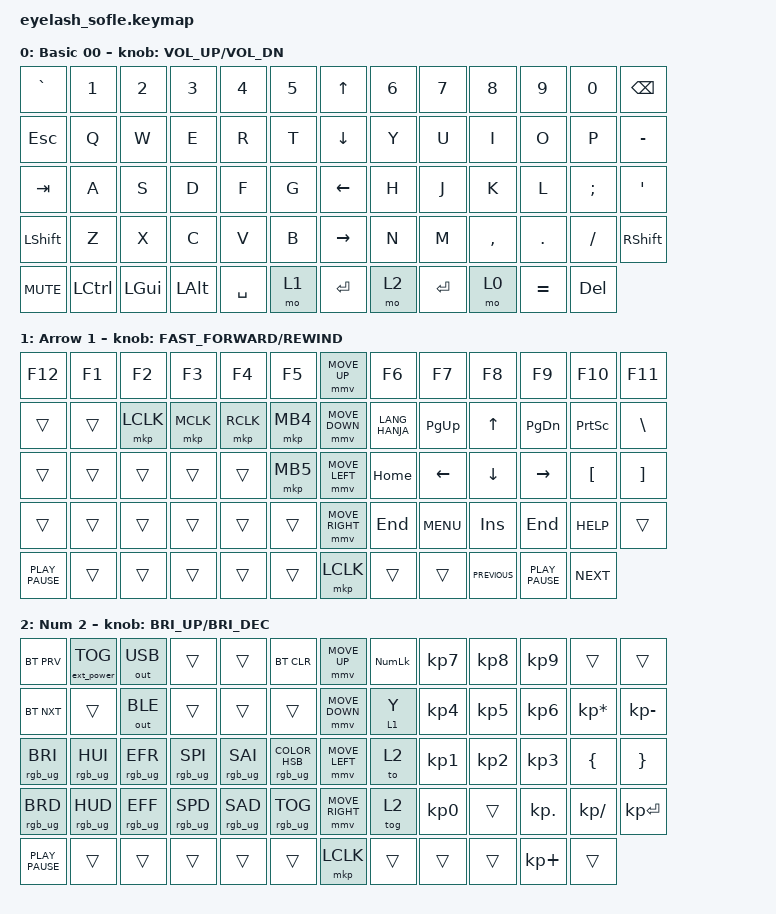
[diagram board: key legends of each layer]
#define ZMK_POINTING_DEFAULT_MOVE_VAL 1200  // 600
#define ZMK_POINTING_DEFAULT_SCRL_VAL 35    // 10

#include <input/processors.dtsi>
#include <zephyr/dt-bindings/input/input-event-codes.h>
#include <behaviors.dtsi>
#include <dt-bindings/zmk/bt.h>
#include <dt-bindings/zmk/ext_power.h>
#include <dt-bindings/zmk/keys.h>
#include <dt-bindings/zmk/outputs.h>
#include <dt-bindings/zmk/pointing.h>
#include <dt-bindings/zmk/rgb.h>

/ {
    zip_scroll_scaler: zip_scroll_scaler {
        compatible = "zmk,input-processor-scaler";
        #input-processor-cells = <2>;
        type = <INPUT_EV_REL>;
        codes = <INPUT_REL_WHEEL INPUT_REL_HWHEEL>;
        track-remainders;
    };
};

&mmv_input_listener { input-processors = <&zip_xy_scaler 2 1>; };

&msc_input_listener { input-processors = <&zip_scroll_scaler 2 1>; };

&msc {
    acceleration-exponent = <0>;      // 0
    time-to-max-speed-ms = <0>;       // 300
    delay-ms = <0>;                   // 0
};

&mmv {
    time-to-max-speed-ms = <400>;
    acceleration-exponent = <1>;
};

/ {
    scroll_encoder: scroll_encoder {
        compatible = "zmk,behavior-sensor-rotate";
        #sensor-binding-cells = <0>;
        bindings = <&msc SCRL_DOWN>, <&msc SCRL_UP>;

        tap-ms = <30>;
    };

    behaviors {
    };

    keymap {
        compatible = "zmk,keymap";

        layer_0 {
            bindings = <
&kp GRAVE   &kp N1     &kp N2        &kp N3        &kp N4     &kp N5    &kp UP_ARROW     &kp N6  &kp N7     &kp N8     &kp N9     &kp N0      &kp BACKSPACE
&kp ESCAPE  &kp Q      &kp W         &kp E         &kp R      &kp T     &kp DOWN_ARROW   &kp Y   &kp U      &kp I      &kp O      &kp P       &kp MINUS
&kp TAB     &kp A      &kp S         &kp D         &kp F      &kp G     &kp LEFT_ARROW   &kp H   &kp J      &kp K      &kp L      &kp SEMI    &kp APOS
&kp LSHFT   &kp Z      &kp X         &kp C         &kp V      &kp B     &kp RIGHT_ARROW  &kp N   &kp M      &kp COMMA  &kp DOT    &kp FSLH    &kp RIGHT_SHIFT
&kp C_MUTE  &kp LCTRL  &kp LEFT_GUI  &kp LEFT_ALT  &kp SPACE  &mo 1     &kp ENTER        &mo 2   &kp ENTER  &mo 0      &kp EQUAL  &kp DELETE
            >;

            sensor-bindings = <&inc_dec_kp C_VOLUME_UP C_VOL_DN>;
            display-name = "Basic 00";
        };

        layer_1 {
            bindings = <
&kp F12           &kp F1  &kp F2     &kp F3     &kp F4     &kp F5      &mmv MOVE_UP     &kp F6          &kp F7       &kp F8          &kp F9            &kp F10           &kp F11
&trans            &trans  &mkp LCLK  &mkp MCLK  &mkp RCLK  &mkp MB4    &mmv MOVE_DOWN   &kp LANG_HANJA  &kp PAGE_UP  &kp UP          &kp PAGE_DOWN     &kp PRINTSCREEN   &kp BACKSLASH
&trans            &trans  &trans     &trans     &trans     &mkp MB5    &mmv MOVE_LEFT   &kp HOME        &kp LEFT     &kp DOWN        &kp RIGHT         &kp LEFT_BRACKET  &kp RIGHT_BRACKET
&trans            &trans  &trans     &trans     &trans     &trans      &mmv MOVE_RIGHT  &kp END         &kp K_MENU   &kp INSERT      &kp END           &kp K_HELP        &trans
&kp K_PLAY_PAUSE  &trans  &trans     &trans     &trans     &trans      &mkp LCLK        &trans          &trans       &kp K_PREVIOUS  &kp K_PLAY_PAUSE  &kp K_NEXT
            >;

            display-name = "Arrow 1";
            sensor-bindings = <&inc_dec_kp C_FAST_FORWARD C_REWIND>;
        };

        layer_2 {
            bindings = <
&bt BT_PRV        &ext_power EP_TOG  &out OUT_USB     &trans           &trans           &bt BT_CLR                         &mmv MOVE_UP     &kp KP_NUMLOCK  &kp KP_NUMBER_7  &kp KP_N8        &kp KP_NUMBER_9  &trans           &trans
&bt BT_NXT        &trans             &out OUT_BLE     &trans           &trans           &trans                             &mmv MOVE_DOWN   &lt 1 Y         &kp KP_NUMBER_4  &kp KP_NUMBER_5  &kp KP_NUMBER_6  &kp KP_MULTIPLY  &kp KP_MINUS
&rgb_ug RGB_BRI   &rgb_ug RGB_HUI    &rgb_ug RGB_EFR  &rgb_ug RGB_SPI  &rgb_ug RGB_SAI  &rgb_ug RGB_COLOR_HSB(30,78,58)    &mmv MOVE_LEFT   &to 2           &kp KP_NUMBER_1  &kp KP_NUMBER_2  &kp KP_NUMBER_3  &kp LBRC         &kp RBRC
&rgb_ug RGB_BRD   &rgb_ug RGB_HUD    &rgb_ug RGB_EFF  &rgb_ug RGB_SPD  &rgb_ug RGB_SAD  &rgb_ug RGB_TOG                    &mmv MOVE_RIGHT  &tog 2          &kp KP_NUMBER_0  &trans           &kp KP_DOT       &kp KP_DIVIDE    &kp KP_ENTER
&kp K_PLAY_PAUSE  &trans             &trans           &trans           &trans           &trans                             &mkp LCLK        &trans          &trans           &trans           &kp KP_PLUS      &trans
            >;

            sensor-bindings = <&inc_dec_kp C_BRI_UP C_BRIGHTNESS_DEC>;
            label = "Num 2";
        };
    };
};
